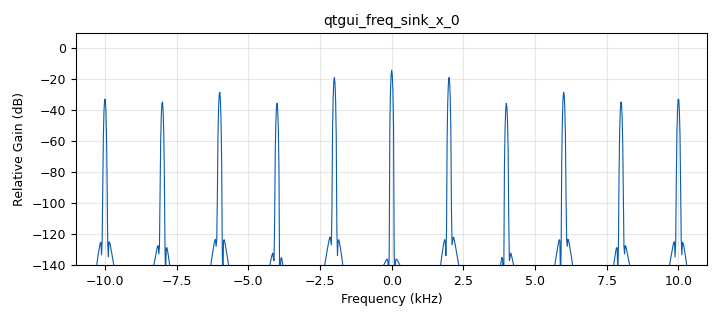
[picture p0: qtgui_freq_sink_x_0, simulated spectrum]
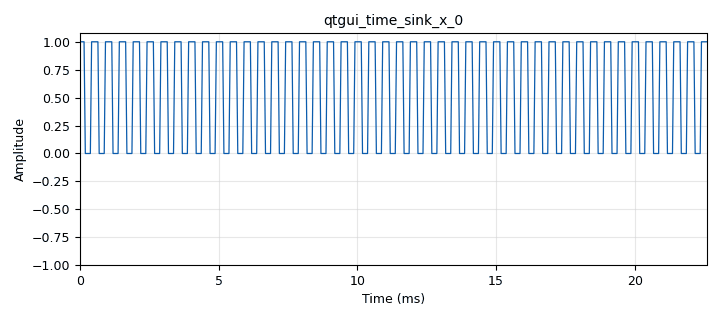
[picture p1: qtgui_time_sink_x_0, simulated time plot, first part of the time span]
options:
  parameters:
    author: angie_chaparro_david_florez_B1A_G1
    generate_options: qt_gui
    id: lab_comu1_P2
    output_language: python
    title: parte B
  states: {}

blocks:
- name: freq
  id: variable_qtgui_range
  parameters:
    label: frequency
    start: '1000'
    step: '1000'
    stop: '40000'
    value: '2000'
  states: {}
- name: samp_rate
  id: variable
  parameters:
    value: '32000'
  states: {state: disabled}
- name: samp_rate
  id: variable_qtgui_range
  parameters:
    label: frecuencia de muestreo
    start: '1000'
    step: '1000'
    stop: '40000'
    value: '22000'
  states: {}
- name: analog_sig_source_x_0
  id: analog_sig_source_x
  parameters:
    amp: '1'
    freq: freq
    offset: '0'
    phase: '0'
    samp_rate: samp_rate
    type: float
    waveform: analog.GR_SQR_WAVE
  states: {}
- name: blocks_throttle_0
  id: blocks_throttle
  parameters:
    samples_per_second: samp_rate
    type: float
  states: {}
- name: qtgui_freq_sink_x_0
  id: qtgui_freq_sink_x
  parameters:
    bw: samp_rate
    fc: '0'
    fftsize: '1024'
    type: float
  states: {}
- name: qtgui_time_sink_x_0
  id: qtgui_time_sink_x
  parameters:
    size: '1024'
    srate: samp_rate
    type: float
  states: {}

connections:
- [analog_sig_source_x_0, '0', blocks_throttle_0, '0']
- [blocks_throttle_0, '0', qtgui_freq_sink_x_0, '0']
- [blocks_throttle_0, '0', qtgui_time_sink_x_0, '0']

metadata:
  file_format: 1
